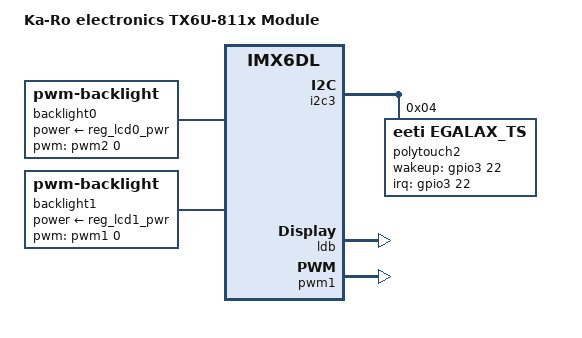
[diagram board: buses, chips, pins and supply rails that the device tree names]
/*
 * Copyright 2014-2016 Lothar Waßmann <LW@KARO-electronics.de>
 *
 * This file is dual-licensed: you can use it either under the terms
 * of the GPL or the X11 license, at your option. Note that this dual
 * licensing only applies to this file, and not this project as a
 * whole.
 *
 *  a) This file is free software; you can redistribute it and/or
 *     modify it under the terms of the GNU General Public License
 *     version 2 as published by the Free Software Foundation.
 *
 *     This file is distributed in the hope that it will be useful,
 *     but WITHOUT ANY WARRANTY; without even the implied warranty of
 *     MERCHANTABILITY or FITNESS FOR A PARTICULAR PURPOSE.  See the
 *     GNU General Public License for more details.
 *
 * Or, alternatively,
 *
 *  b) Permission is hereby granted, free of charge, to any person
 *     obtaining a copy of this software and associated documentation
 *     files (the "Software"), to deal in the Software without
 *     restriction, including without limitation the rights to use,
 *     copy, modify, merge, publish, distribute, sublicense, and/or
 *     sell copies of the Software, and to permit persons to whom the
 *     Software is furnished to do so, subject to the following
 *     conditions:
 *
 *     The above copyright notice and this permission notice shall be
 *     included in all copies or substantial portions of the Software.
 *
 *     THE SOFTWARE IS PROVIDED "AS IS", WITHOUT WARRANTY OF ANY KIND,
 *     EXPRESS OR IMPLIED, INCLUDING BUT NOT LIMITED TO THE WARRANTIES
 *     OF MERCHANTABILITY, FITNESS FOR A PARTICULAR PURPOSE AND
 *     NONINFRINGEMENT. IN NO EVENT SHALL THE AUTHORS OR COPYRIGHT
 *     HOLDERS BE LIABLE FOR ANY CLAIM, DAMAGES OR OTHER LIABILITY,
 *     WHETHER IN AN ACTION OF CONTRACT, TORT OR OTHERWISE, ARISING
 *     FROM, OUT OF OR IN CONNECTION WITH THE SOFTWARE OR THE USE OR
 *     OTHER DEALINGS IN THE SOFTWARE.
 */

/dts-v1/;
#include "imx6dl.dtsi"
#include "imx6qdl-tx6.dtsi"

/ {
	model = "Ka-Ro electronics TX6U-811x Module";
	compatible = "karo,imx6dl-tx6dl", "fsl,imx6dl";

	aliases {
		display = &lvds0;
		lvds0 = &lvds0;
		lvds1 = &lvds1;
	};

	backlight0: backlight0 {
		compatible = "pwm-backlight";
		pwms = <&pwm2 0 500000 0>;
		power-supply = <&reg_lcd0_pwr>;
		/*
		 * a poor man's way to create a 1:1 relationship between
		 * the PWM value and the actual duty cycle
		 */
		brightness-levels = < 0  1  2  3  4  5  6  7  8  9
				     10 11 12 13 14 15 16 17 18 19
				     20 21 22 23 24 25 26 27 28 29
				     30 31 32 33 34 35 36 37 38 39
				     40 41 42 43 44 45 46 47 48 49
				     50 51 52 53 54 55 56 57 58 59
				     60 61 62 63 64 65 66 67 68 69
				     70 71 72 73 74 75 76 77 78 79
				     80 81 82 83 84 85 86 87 88 89
				     90 91 92 93 94 95 96 97 98 99
				    100>;
		default-brightness-level = <50>;
	};

	backlight1: backlight1 {
		compatible = "pwm-backlight";
		pwms = <&pwm1 0 500000 0>;
		power-supply = <&reg_lcd1_pwr>;
		/*
		 * a poor man's way to create a 1:1 relationship between
		 * the PWM value and the actual duty cycle
		 */
		brightness-levels = < 0  1  2  3  4  5  6  7  8  9
				     10 11 12 13 14 15 16 17 18 19
				     20 21 22 23 24 25 26 27 28 29
				     30 31 32 33 34 35 36 37 38 39
				     40 41 42 43 44 45 46 47 48 49
				     50 51 52 53 54 55 56 57 58 59
				     60 61 62 63 64 65 66 67 68 69
				     70 71 72 73 74 75 76 77 78 79
				     80 81 82 83 84 85 86 87 88 89
				     90 91 92 93 94 95 96 97 98 99
				    100>;
		default-brightness-level = <50>;
	};
};

&i2c3 {
	polytouch2: eeti@4 {
		compatible = "eeti,egalax_ts";
		reg = <0x04>;
		pinctrl-names = "default";
		pinctrl-0 = <&pinctrl_eeti>;
		interrupt-parent = <&gpio3>;
		interrupts = <22 0>;
		wakeup-gpios = <&gpio3 22 GPIO_ACTIVE_HIGH>;
		wakeup-source;
	};
};

&kpp {
	status = "disabled"; /* pad conflict with backlight1 PWM */
};

&ldb {
	status = "okay";

	lvds0: lvds-channel@0 {
		fsl,data-mapping = "spwg";
		fsl,data-width = <18>;
		status = "okay";

		display-timings {
			native-mode = <&lvds_timing0>;
			lvds_timing0: hsd100pxn1 {
				clock-frequency = <65000000>;
				hactive = <1024>;
				vactive = <768>;
				hback-porch = <220>;
				hfront-porch = <40>;
				vback-porch = <21>;
				vfront-porch = <7>;
				hsync-len = <60>;
				vsync-len = <10>;
				de-active = <1>;
				pixelclk-active = <1>;
			};
		};
	};

	lvds1: lvds-channel@1 {
		fsl,data-mapping = "spwg";
		fsl,data-width = <18>;
		status = "disabled";

		display-timings {
			native-mode = <&lvds_timing1>;
			lvds_timing1: hsd100pxn1 {
				clock-frequency = <65000000>;
				hactive = <1024>;
				vactive = <768>;
				hback-porch = <220>;
				hfront-porch = <40>;
				vback-porch = <21>;
				vfront-porch = <7>;
				hsync-len = <60>;
				vsync-len = <10>;
				de-active = <1>;
				pixelclk-active = <1>;
			};
		};
	};
};

&pwm1 {
	status = "okay";
};

&iomuxc {
	pinctrl_eeti: eetigrp {
		fsl,pins = <
			MX6QDL_PAD_EIM_D22__GPIO3_IO22 0x1b0b1 /* Interrupt */
		>;
	};
};
